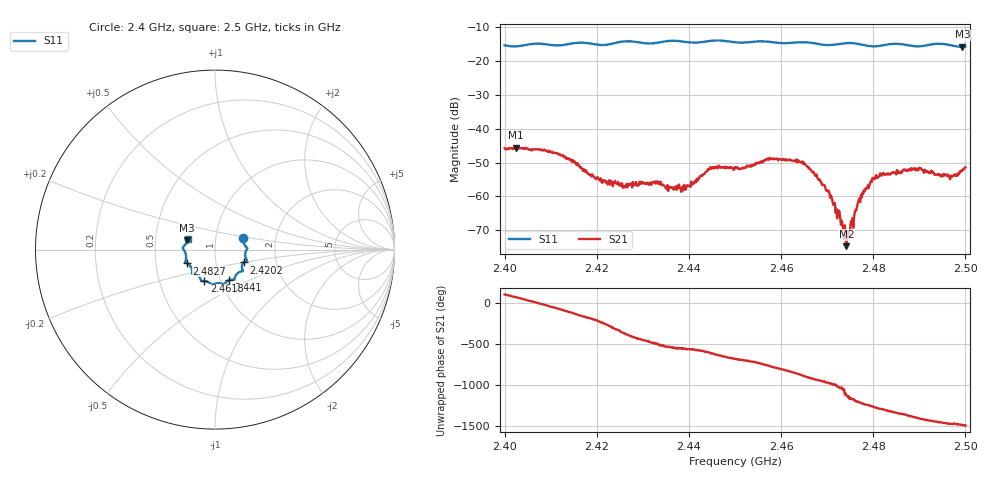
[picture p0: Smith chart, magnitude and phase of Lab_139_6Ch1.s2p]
# Hz S RI R 50
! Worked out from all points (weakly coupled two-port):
!   601 points, 2.4 GHz to 2.5 GHz, reference 50 ohm
!   highest |S21| = -45.63 dB at 2.4025 GHz (marker M1); lowest = -74.7 dB at 2.4742 GHz (marker M2)
!   lowest |S11| = -15.8 dB at 2.4993 GHz (marker M3), VSWR 1.39, Z = 36.5 + j3.81 ohm
!   |S11| at or under -10 dB: start of sweep to end of sweep
!   S12 and S22 are empty: the file has one direction only
!   S11 on the Smith chart (normalised r, x): 2.4 GHz: 1.36, +0.18; 2.4202 GHz: 1.36, -0.20; 2.441 GHz: 1.10, -0.39; 2.4618 GHz: 0.84, -0.30; 2.4827 GHz: 0.72, -0.11; 2.5 GHz: 0.73, +0.09
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2.4e9  0.1588 0.0628  -0.00101 0.00503  0 0  0 0
2.4025e9  0.1613 0.0339  0.00191 0.00487  0 0  0 0
2.4115e9  0.1686 -0.0222  0.00153 -0.00405  0 0  0 0
2.416667e9  0.1772 -0.0608  -0.00245 -0.000978  0 0  0 0
2.420167e9  0.159 -0.0715  -0.00153 0.00116  0 0  0 0
2.426167e9  0.1562 -0.1182  0.0013 -0.00037  0 0  0 0
2.433333e9  0.1117 -0.1507  -0.00122 -0.000946  0 0  0 0
2.438833e9  0.0989 -0.1665  -0.0012 0.000287  0 0  0 0
2.441e9  0.0789 -0.1698  -0.00141 0.000604  0 0  0 0
2.444667e9  0.053 -0.1916  -0.000956 0.00253  0 0  0 0
2.45e9  0.0284 -0.1875  0.002 0.00182  0 0  0 0
2.461833e9  -0.0592 -0.1755  -0.00115 -0.00321  0 0  0 0
2.466667e9  -0.079 -0.1683  -0.00224 0.000616  0 0  0 0
2.4705e9  -0.0993 -0.1411  -0.000271 0.00109  0 0  0 0
2.474167e9  -0.1256 -0.1346  0.000133 -0.000126  0 0  0 0
2.477833e9  -0.1271 -0.1174  -0.000873 -0.000662  0 0  0 0
2.482667e9  -0.1561 -0.077  -0.00154 0.00141  0 0  0 0
2.483333e9  -0.1603 -0.075  -0.00126 0.00177  0 0  0 0
2.489833e9  -0.1628 -0.0265  0.00194 0.00161  0 0  0 0
2.496833e9  -0.17 0.0224  0.00178 -0.000985  0 0  0 0
2.499333e9  -0.1543 0.0509  0.00175 -0.00165  0 0  0 0
2.5e9  -0.1523 0.0604  0.00177 -0.00202  0 0  0 0
